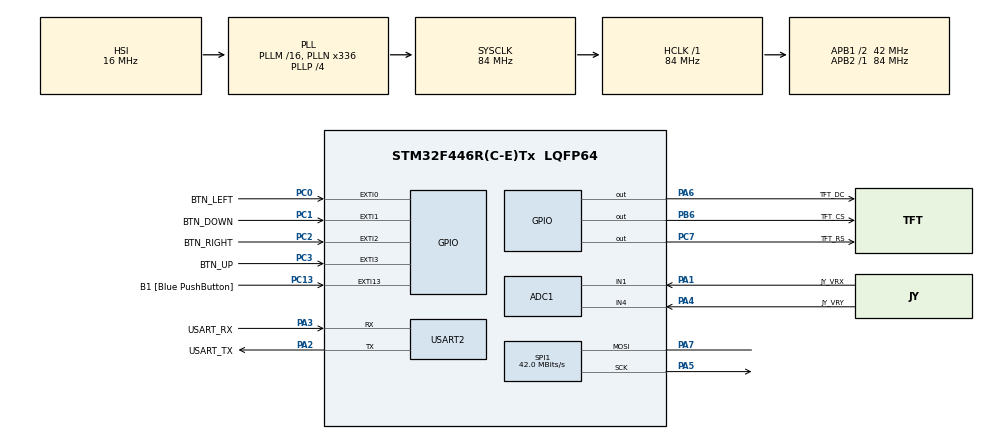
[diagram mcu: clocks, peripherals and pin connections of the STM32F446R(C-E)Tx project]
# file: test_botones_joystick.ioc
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ADC1.Channel-0\#ChannelRegularConversion=ADC_CHANNEL_1
ADC1.Channel-1\#ChannelRegularConversion=ADC_CHANNEL_4
ADC1.ContinuousConvMode=ENABLE
ADC1.DMAContinuousRequests=ENABLE
ADC1.DiscontinuousConvMode=DISABLE
ADC1.NbrOfConversion=2
ADC1.NbrOfConversionFlag=1
ADC1.Rank-0\#ChannelRegularConversion=1
ADC1.Rank-1\#ChannelRegularConversion=2
ADC1.SamplingTime-0\#ChannelRegularConversion=ADC_SAMPLETIME_112CYCLES
ADC1.SamplingTime-1\#ChannelRegularConversion=ADC_SAMPLETIME_112CYCLES
ADC1.ScanConvMode=ENABLE
ADC1.master=1
Dma.ADC1.1.Direction=DMA_PERIPH_TO_MEMORY
Dma.ADC1.1.FIFOMode=DMA_FIFOMODE_DISABLE
Dma.ADC1.1.Instance=DMA2_Stream0
Dma.ADC1.1.MemDataAlignment=DMA_MDATAALIGN_HALFWORD
Dma.ADC1.1.MemInc=DMA_MINC_ENABLE
Dma.ADC1.1.Mode=DMA_CIRCULAR
Dma.ADC1.1.PeriphDataAlignment=DMA_PDATAALIGN_HALFWORD
Dma.ADC1.1.PeriphInc=DMA_PINC_DISABLE
Dma.ADC1.1.Priority=DMA_PRIORITY_HIGH
Dma.Request0=SPI1_TX
Dma.Request1=ADC1
Dma.SPI1_TX.0.Direction=DMA_MEMORY_TO_PERIPH
Dma.SPI1_TX.0.FIFOMode=DMA_FIFOMODE_DISABLE
Dma.SPI1_TX.0.Instance=DMA2_Stream3
Dma.SPI1_TX.0.MemDataAlignment=DMA_MDATAALIGN_BYTE
Dma.SPI1_TX.0.MemInc=DMA_MINC_ENABLE
Dma.SPI1_TX.0.Mode=DMA_NORMAL
Dma.SPI1_TX.0.PeriphDataAlignment=DMA_PDATAALIGN_BYTE
Dma.SPI1_TX.0.PeriphInc=DMA_PINC_DISABLE
Dma.SPI1_TX.0.Priority=DMA_PRIORITY_HIGH
Mcu.Family=STM32F4
Mcu.Name=STM32F446R(C-E)Tx
Mcu.Package=LQFP64
NVIC.DMA2_Stream0_IRQn=true\:0\:0\:false\:false\:true\:false\:true\:true
NVIC.DMA2_Stream3_IRQn=true\:0\:0\:false\:false\:true\:false\:true\:true
NVIC.EXTI0_IRQn=true\:0\:0\:false\:false\:true\:true\:true\:true
NVIC.EXTI1_IRQn=true\:0\:0\:false\:false\:true\:true\:true\:true
NVIC.EXTI2_IRQn=true\:0\:0\:false\:false\:true\:true\:true\:true
NVIC.EXTI3_IRQn=true\:0\:0\:false\:false\:true\:true\:true\:true
NVIC.PriorityGroup=NVIC_PRIORITYGROUP_0
PA1.GPIO_Label=JY_VRX
PA1.Signal=ADCx_IN1
PA13.GPIO_Label=TMS
PA13.Mode=Serial_Wire
PA13.Signal=SYS_JTMS-SWDIO
PA14.GPIO_Label=TCK
PA14.Mode=Serial_Wire
PA14.Signal=SYS_JTCK-SWCLK
PA2.GPIO_Label=USART_TX
PA2.Mode=Asynchronous
PA2.Signal=USART2_TX
PA3.GPIO_Label=USART_RX
PA3.Mode=Asynchronous
PA3.Signal=USART2_RX
PA4.GPIO_Label=JY_VRY
PA4.Signal=ADCx_IN4
PA5.Mode=Simplex_Bidirectional_Master
PA5.Signal=SPI1_SCK
PA6.GPIO_Label=TFT_DC
PA6.Signal=GPIO_Output
PA7.Mode=Simplex_Bidirectional_Master
PA7.Signal=SPI1_MOSI
PB3.GPIO_Label=SWO
PB3.Signal=SYS_JTDO-SWO
PB6.GPIO_Label=TFT_CS
PB6.PinState=GPIO_PIN_SET
PB6.Signal=GPIO_Output
PC0.GPIO_Label=BTN_LEFT
PC0.GPIO_ModeDefaultEXTI=GPIO_MODE_IT_FALLING
PC0.GPIO_PuPd=GPIO_PULLUP
PC0.Signal=GPXTI0
PC1.GPIO_Label=BTN_DOWN
PC1.GPIO_ModeDefaultEXTI=GPIO_MODE_IT_FALLING
PC1.GPIO_PuPd=GPIO_PULLUP
PC1.Signal=GPXTI1
PC13.GPIO_Label=B1 [Blue PushButton]
PC13.GPIO_ModeDefaultEXTI=GPIO_MODE_IT_FALLING
PC13.Signal=GPXTI13
PC14-OSC32_IN.Mode=LSE-External-Oscillator
PC14-OSC32_IN.Signal=RCC_OSC32_IN
PC15-OSC32_OUT.Mode=LSE-External-Oscillator
PC15-OSC32_OUT.Signal=RCC_OSC32_OUT
PC2.GPIO_Label=BTN_RIGHT
PC2.GPIO_ModeDefaultEXTI=GPIO_MODE_IT_FALLING
PC2.GPIO_PuPd=GPIO_PULLUP
PC2.Signal=GPXTI2
PC3.GPIO_Label=BTN_UP
PC3.GPIO_ModeDefaultEXTI=GPIO_MODE_IT_FALLING
PC3.GPIO_PuPd=GPIO_PULLUP
PC3.Signal=GPXTI3
PC7.GPIO_Label=TFT_RS
PC7.PinState=GPIO_PIN_SET
PC7.Signal=GPIO_Output
PH0-OSC_IN.Mode=HSE-External-Oscillator
PH0-OSC_IN.Signal=RCC_OSC_IN
PH1-OSC_OUT.Mode=HSE-External-Oscillator
PH1-OSC_OUT.Signal=RCC_OSC_OUT
ProjectManager.HeapSize=0x200
ProjectManager.StackSize=0x400
ProjectManager.TargetToolchain=STM32CubeIDE
RCC.48MHZClocksFreq_Value=84000000
RCC.AHBFreq_Value=84000000
RCC.APB1CLKDivider=RCC_HCLK_DIV2
RCC.APB1Freq_Value=42000000
RCC.APB1TimFreq_Value=84000000
RCC.APB2Freq_Value=84000000
RCC.APB2TimFreq_Value=84000000
RCC.CortexFreq_Value=84000000
RCC.FLatency-AdvancedSettings=FLASH_LATENCY_2
RCC.HCLKFreq_Value=84000000
RCC.HSE_VALUE=8000000
RCC.HSI_VALUE=16000000
RCC.PLLN=336
RCC.PLLP=RCC_PLLP_DIV4
RCC.SYSCLKFreq_VALUE=84000000
RCC.SYSCLKSource=RCC_SYSCLKSOURCE_PLLCLK
RCC.USBFreq_Value=168000000
RCC.VCOOutputFreq_Value=336000000
SH.ADCx_IN1.0=ADC1_IN1,IN1
SH.ADCx_IN4.0=ADC1_IN4,IN4
SPI1.CalculateBaudRate=42.0 MBits/s
SPI1.Direction=SPI_DIRECTION_1LINE
SPI1.Mode=SPI_MODE_MASTER
SPI1.VirtualType=VM_MASTER
USART2.VirtualMode=VM_ASYNC
board=NUCLEO-F446RE

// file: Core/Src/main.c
/* USER CODE BEGIN Header */
/**
  ******************************************************************************
  * @file           : main.c
  * @brief          : Main program body
  ******************************************************************************
  * @attention
  *
  * Copyright (c) 2025 STMicroelectronics.
  * All rights reserved.
  *
  * This software is licensed under terms that can be found in the LICENSE file
  * in the root directory of this software component.
  * If no LICENSE file comes with this software, it is provided AS-IS.
  *
  ******************************************************************************
  */
/* USER CODE END Header */
#include "main.h"

/* USER CODE BEGIN Includes */
#include "API_uart.h"

/* ------------- USING LVGL v8.3.11 -------------------- */

/* USER CODE END Includes */

ADC_HandleTypeDef hadc1;
DMA_HandleTypeDef hdma_adc1;

SPI_HandleTypeDef hspi1;
DMA_HandleTypeDef hdma_spi1_tx;

extern UART_HandleTypeDef huart2;

void SystemClock_Config(void);
static void MX_GPIO_Init(void);
static void MX_DMA_Init(void);
static void MX_USART2_UART_Init(void);
static void MX_SPI1_Init(void);
static void MX_ADC1_Init(void);

/* USER CODE BEGIN 0 */
//tft_t myTft;

/* ---------- globals ------------- */
volatile uint16_t joy_raw[2] = {0}; /* [0]=PA1 X , [1]=PA4 Y        */
/*-----------------------------------------------------------------------
 * Callback común de los 4 botones (PC0…PC3)
 *---------------------------------------------------------------------*/
void HAL_GPIO_EXTI_Callback(uint16_t GPIO_Pin)
{
	const char *name = "UNK";

	switch (GPIO_Pin) {
	case BTN_LEFT_Pin:   name = "LEFT";  break;
	case BTN_DOWN_Pin:   name = "DOWN";  break;
	case BTN_RIGHT_Pin:  name = "RIGHT"; break;
	case BTN_UP_Pin:     name = "UP";    break;
	default: return;                     /* otro pin, ignorar */
	}

	uartSendString("BTN ");
	uartSendString(name);
	uartSendString("\r\n");
}

/*-----------------------------------------------------------------------
 * Lee los 2 canales configurados en el ADC secuencialmente
 *---------------------------------------------------------------------*/
static void read_joystick_once(void)
{
    /* inicia conversión “regular” de la secuencia de 2 ranks */
    HAL_ADC_Start(&hadc1);

    /* Rank 1 → PA1 */
    HAL_ADC_PollForConversion(&hadc1, HAL_MAX_DELAY);
    joy_raw[0] = HAL_ADC_GetValue(&hadc1);

    /* Rank 2 → PA4 */
    HAL_ADC_PollForConversion(&hadc1, HAL_MAX_DELAY);
    joy_raw[1] = HAL_ADC_GetValue(&hadc1);

    HAL_ADC_Stop(&hadc1);   /* no es imprescindible */
}
uint16_t read_adc_channel(uint32_t ch)
{
    ADC_ChannelConfTypeDef s = {
        .Channel      = ch,
        .Rank         = 1,
        .SamplingTime = ADC_SAMPLETIME_15CYCLES
    };
    HAL_ADC_ConfigChannel(&hadc1, &s);

    HAL_ADC_Start(&hadc1);
    HAL_ADC_PollForConversion(&hadc1, 5);
    uint16_t v = HAL_ADC_GetValue(&hadc1);
    HAL_ADC_Stop(&hadc1);
    return v;
}

/* USER CODE END 0 */

int main(void)
{

  /* MCU Configuration--------------------------------------------------------*/

  /* Reset of all peripherals, Initializes the Flash interface and the Systick. */
  HAL_Init();

  /* Configure the system clock */
  SystemClock_Config();

  /* Initialize all configured peripherals */
  MX_GPIO_Init();
  MX_DMA_Init();
  MX_USART2_UART_Init();
  MX_SPI1_Init();
  MX_ADC1_Init();
  /* USER CODE BEGIN 2 */
  uartInit();
  //spiInit(1, 2, 0, 0);

  uartSendString("BTN + Joystick test\r\n");

  HAL_ADC_Start_DMA(&hadc1, joy_raw, 2);

  /* USER CODE END 2 */

  /* Infinite loop */
  /* USER CODE BEGIN WHILE */
  while (1)
  {

		  uartSendString("joy X=");
		  uartSendValue(joy_raw[0]);
		  uartSendString(", joy Y=");
		  uartSendValue(joy_raw[1]);
		  uartSendString("\r\n");

	HAL_Delay(200);

    /* USER CODE END WHILE */

  }
}

void SystemClock_Config(void)
{
  RCC_OscInitTypeDef RCC_OscInitStruct = {0};
  RCC_ClkInitTypeDef RCC_ClkInitStruct = {0};

  /** Configure the main internal regulator output voltage
  */
  __HAL_RCC_PWR_CLK_ENABLE();
  __HAL_PWR_VOLTAGESCALING_CONFIG(PWR_REGULATOR_VOLTAGE_SCALE3);

  /** Initializes the RCC Oscillators according to the specified parameters
  * in the RCC_OscInitTypeDef structure.
  */
  RCC_OscInitStruct.OscillatorType = RCC_OSCILLATORTYPE_HSI;
  RCC_OscInitStruct.HSIState = RCC_HSI_ON;
  RCC_OscInitStruct.HSICalibrationValue = RCC_HSICALIBRATION_DEFAULT;
  RCC_OscInitStruct.PLL.PLLState = RCC_PLL_ON;
  RCC_OscInitStruct.PLL.PLLSource = RCC_PLLSOURCE_HSI;
  RCC_OscInitStruct.PLL.PLLM = 16;
  RCC_OscInitStruct.PLL.PLLN = 336;
  RCC_OscInitStruct.PLL.PLLP = RCC_PLLP_DIV4;
  RCC_OscInitStruct.PLL.PLLQ = 2;
  RCC_OscInitStruct.PLL.PLLR = 2;
  if (HAL_RCC_OscConfig(&RCC_OscInitStruct) != HAL_OK)
  {
    Error_Handler();
  }

  /** Initializes the CPU, AHB and APB buses clocks
  */
  RCC_ClkInitStruct.ClockType = RCC_CLOCKTYPE_HCLK|RCC_CLOCKTYPE_SYSCLK
                              |RCC_CLOCKTYPE_PCLK1|RCC_CLOCKTYPE_PCLK2;
  RCC_ClkInitStruct.SYSCLKSource = RCC_SYSCLKSOURCE_PLLCLK;
  RCC_ClkInitStruct.AHBCLKDivider = RCC_SYSCLK_DIV1;
  RCC_ClkInitStruct.APB1CLKDivider = RCC_HCLK_DIV2;
  RCC_ClkInitStruct.APB2CLKDivider = RCC_HCLK_DIV1;

  if (HAL_RCC_ClockConfig(&RCC_ClkInitStruct, FLASH_LATENCY_2) != HAL_OK)
  {
    Error_Handler();
  }
}

static void MX_ADC1_Init(void)
{

  ADC_ChannelConfTypeDef sConfig = {0};

  /** Configure the global features of the ADC (Clock, Resolution, Data Alignment and number of conversion)
  */
  hadc1.Instance = ADC1;
  hadc1.Init.ClockPrescaler = ADC_CLOCK_SYNC_PCLK_DIV4;
  hadc1.Init.Resolution = ADC_RESOLUTION_12B;
  hadc1.Init.ScanConvMode = ENABLE;
  hadc1.Init.ContinuousConvMode = ENABLE;
  hadc1.Init.DiscontinuousConvMode = DISABLE;
  hadc1.Init.ExternalTrigConvEdge = ADC_EXTERNALTRIGCONVEDGE_NONE;
  hadc1.Init.ExternalTrigConv = ADC_SOFTWARE_START;
  hadc1.Init.DataAlign = ADC_DATAALIGN_RIGHT;
  hadc1.Init.NbrOfConversion = 2;
  hadc1.Init.DMAContinuousRequests = ENABLE;
  hadc1.Init.EOCSelection = ADC_EOC_SINGLE_CONV;
  if (HAL_ADC_Init(&hadc1) != HAL_OK)
  {
    Error_Handler();
  }

  /** Configure for the selected ADC regular channel its corresponding rank in the sequencer and its sample time.
  */
  sConfig.Channel = ADC_CHANNEL_1;
  sConfig.Rank = 1;
  sConfig.SamplingTime = ADC_SAMPLETIME_112CYCLES;
  if (HAL_ADC_ConfigChannel(&hadc1, &sConfig) != HAL_OK)
  {
    Error_Handler();
  }

  /** Configure for the selected ADC regular channel its corresponding rank in the sequencer and its sample time.
  */
  sConfig.Channel = ADC_CHANNEL_4;
  sConfig.Rank = 2;
  if (HAL_ADC_ConfigChannel(&hadc1, &sConfig) != HAL_OK)
  {
    Error_Handler();
  }

}

static void MX_SPI1_Init(void)
{

  /* SPI1 parameter configuration*/
  hspi1.Instance = SPI1;
  hspi1.Init.Mode = SPI_MODE_MASTER;
  hspi1.Init.Direction = SPI_DIRECTION_1LINE;
  hspi1.Init.DataSize = SPI_DATASIZE_8BIT;
  hspi1.Init.CLKPolarity = SPI_POLARITY_LOW;
  hspi1.Init.CLKPhase = SPI_PHASE_1EDGE;
  hspi1.Init.NSS = SPI_NSS_SOFT;
  hspi1.Init.BaudRatePrescaler = SPI_BAUDRATEPRESCALER_2;
  hspi1.Init.FirstBit = SPI_FIRSTBIT_MSB;
  hspi1.Init.TIMode = SPI_TIMODE_DISABLE;
  hspi1.Init.CRCCalculation = SPI_CRCCALCULATION_DISABLE;
  hspi1.Init.CRCPolynomial = 10;
  if (HAL_SPI_Init(&hspi1) != HAL_OK)
  {
    Error_Handler();
  }

}

static void MX_USART2_UART_Init(void)
{

  /* USER CODE BEGIN USART2_Init 0 */
//
  /* USER CODE END USART2_Init 0 */

  /* USER CODE BEGIN USART2_Init 1 */
//
  /* USER CODE END USART2_Init 1 */
  huart2.Instance = USART2;
  huart2.Init.BaudRate = 115200;
  huart2.Init.WordLength = UART_WORDLENGTH_8B;
  huart2.Init.StopBits = UART_STOPBITS_1;
  huart2.Init.Parity = UART_PARITY_NONE;
  huart2.Init.Mode = UART_MODE_TX_RX;
  huart2.Init.HwFlowCtl = UART_HWCONTROL_NONE;
  huart2.Init.OverSampling = UART_OVERSAMPLING_16;
  if (HAL_UART_Init(&huart2) != HAL_OK)
  {
    Error_Handler();
  }
  /* USER CODE BEGIN USART2_Init 2 */
//
  /* USER CODE END USART2_Init 2 */

}

static void MX_DMA_Init(void)
{

  /* DMA controller clock enable */
  __HAL_RCC_DMA2_CLK_ENABLE();

  /* DMA interrupt init */
  /* DMA2_Stream0_IRQn interrupt configuration */
  HAL_NVIC_SetPriority(DMA2_Stream0_IRQn, 0, 0);
  HAL_NVIC_EnableIRQ(DMA2_Stream0_IRQn);
  /* DMA2_Stream3_IRQn interrupt configuration */
  HAL_NVIC_SetPriority(DMA2_Stream3_IRQn, 0, 0);
  HAL_NVIC_EnableIRQ(DMA2_Stream3_IRQn);

}

static void MX_GPIO_Init(void)
{
  GPIO_InitTypeDef GPIO_InitStruct = {0};

  /* GPIO Ports Clock Enable */
  __HAL_RCC_GPIOC_CLK_ENABLE();
  __HAL_RCC_GPIOH_CLK_ENABLE();
  __HAL_RCC_GPIOA_CLK_ENABLE();
  __HAL_RCC_GPIOB_CLK_ENABLE();

  /*Configure GPIO pin Output Level */
  HAL_GPIO_WritePin(TFT_DC_GPIO_Port, TFT_DC_Pin, GPIO_PIN_RESET);

  /*Configure GPIO pin Output Level */
  HAL_GPIO_WritePin(TFT_RS_GPIO_Port, TFT_RS_Pin, GPIO_PIN_SET);

  /*Configure GPIO pin Output Level */
  HAL_GPIO_WritePin(TFT_CS_GPIO_Port, TFT_CS_Pin, GPIO_PIN_SET);

  /*Configure GPIO pin : B1_Pin */
  GPIO_InitStruct.Pin = B1_Pin;
  GPIO_InitStruct.Mode = GPIO_MODE_IT_FALLING;
  GPIO_InitStruct.Pull = GPIO_NOPULL;
  HAL_GPIO_Init(B1_GPIO_Port, &GPIO_InitStruct);

  /*Configure GPIO pins : BTN_LEFT_Pin BTN_DOWN_Pin BTN_RIGHT_Pin BTN_UP_Pin */
  GPIO_InitStruct.Pin = BTN_LEFT_Pin|BTN_DOWN_Pin|BTN_RIGHT_Pin|BTN_UP_Pin;
  GPIO_InitStruct.Mode = GPIO_MODE_IT_FALLING;
  GPIO_InitStruct.Pull = GPIO_PULLUP;
  HAL_GPIO_Init(GPIOC, &GPIO_InitStruct);

  /*Configure GPIO pin : TFT_DC_Pin */
  GPIO_InitStruct.Pin = TFT_DC_Pin;
  GPIO_InitStruct.Mode = GPIO_MODE_OUTPUT_PP;
  GPIO_InitStruct.Pull = GPIO_NOPULL;
  GPIO_InitStruct.Speed = GPIO_SPEED_FREQ_LOW;
  HAL_GPIO_Init(TFT_DC_GPIO_Port, &GPIO_InitStruct);

  /*Configure GPIO pin : TFT_RS_Pin */
  GPIO_InitStruct.Pin = TFT_RS_Pin;
  GPIO_InitStruct.Mode = GPIO_MODE_OUTPUT_PP;
  GPIO_InitStruct.Pull = GPIO_NOPULL;
  GPIO_InitStruct.Speed = GPIO_SPEED_FREQ_LOW;
  HAL_GPIO_Init(TFT_RS_GPIO_Port, &GPIO_InitStruct);

  /*Configure GPIO pin : TFT_CS_Pin */
  GPIO_InitStruct.Pin = TFT_CS_Pin;
  GPIO_InitStruct.Mode = GPIO_MODE_OUTPUT_PP;
  GPIO_InitStruct.Pull = GPIO_NOPULL;
  GPIO_InitStruct.Speed = GPIO_SPEED_FREQ_LOW;
  HAL_GPIO_Init(TFT_CS_GPIO_Port, &GPIO_InitStruct);

  /* EXTI interrupt init*/
  HAL_NVIC_SetPriority(EXTI0_IRQn, 0, 0);
  HAL_NVIC_EnableIRQ(EXTI0_IRQn);

  HAL_NVIC_SetPriority(EXTI1_IRQn, 0, 0);
  HAL_NVIC_EnableIRQ(EXTI1_IRQn);

  HAL_NVIC_SetPriority(EXTI2_IRQn, 0, 0);
  HAL_NVIC_EnableIRQ(EXTI2_IRQn);

  HAL_NVIC_SetPriority(EXTI3_IRQn, 0, 0);
  HAL_NVIC_EnableIRQ(EXTI3_IRQn);

}

void Error_Handler(void)
{
  __disable_irq();
  while (1)
  {
  }
}
